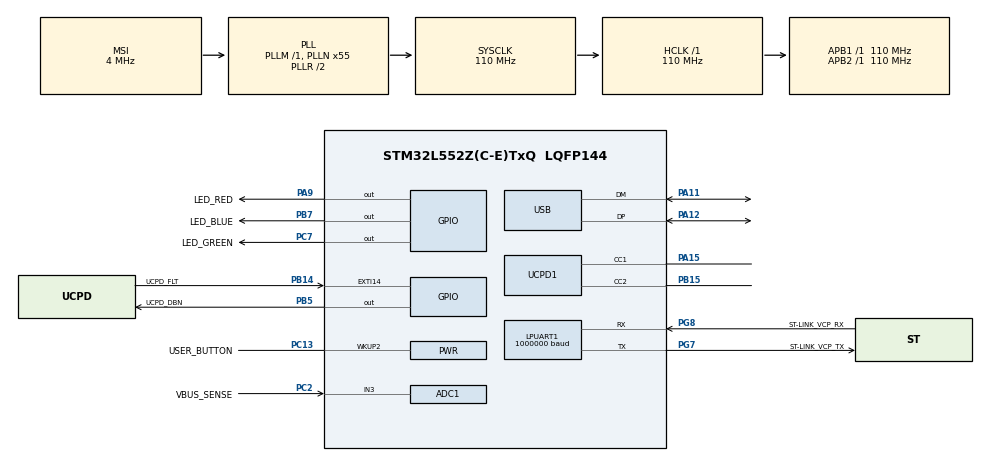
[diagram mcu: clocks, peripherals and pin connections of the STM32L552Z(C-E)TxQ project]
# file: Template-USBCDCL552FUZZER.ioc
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ADC1.Channel-0\#ChannelRegularConversion=ADC_CHANNEL_3
ADC1.NbrOfConversionFlag=1
ADC1.OffsetNumber-0\#ChannelRegularConversion=ADC_OFFSET_NONE
ADC1.Rank-0\#ChannelRegularConversion=1
ADC1.SamplingTime-0\#ChannelRegularConversion=ADC_SAMPLETIME_2CYCLES_5
ADC1.master=1
CRC.InputDataFormat=CRC_INPUTDATA_FORMAT_WORDS
CRC.InputDataInversionMode=CRC_INPUTDATA_INVERSION_WORD
CRC.OutputDataInversionMode=CRC_OUTPUTDATA_INVERSION_ENABLE
LPUART1.BaudRate=1000000
Mcu.Family=STM32L5
Mcu.Name=STM32L552Z(C-E)TxQ
Mcu.Package=LQFP144
Mcu.TrustZone=disable
NVIC.PriorityGroup=NVIC_PRIORITYGROUP_3
NVIC.TIM17_IRQn=true\:7\:0\:false\:false\:true\:false\:true\:true
NVIC.TimeBase=TIM17_IRQn
NVIC.TimeBaseIP=TIM17
NVIC.USB_FS_IRQn=true\:5\:0\:true\:false\:true\:false\:true\:true
PA11.Mode=Device
PA11.Signal=USB_DM
PA12.Mode=Device
PA12.Signal=USB_DP
PA13\ (JTMS/SWDIO).Mode=Trace_Asynchronous_SW
PA13\ (JTMS/SWDIO).Signal=DEBUG_JTMS-SWDIO
PA14\ (JTCK/SWCLK).Mode=Trace_Asynchronous_SW
PA14\ (JTCK/SWCLK).Signal=DEBUG_JTCK-SWCLK
PA15\ (JTDI).Mode=Source_AllSignals
PA15\ (JTDI).Signal=UCPD1_CC1
PA9.GPIO_Label=LED_RED
PA9.Signal=GPIO_Output
PB14.GPIO_Label=UCPD_FLT
PB14.Signal=GPXTI14
PB15.Mode=Source_AllSignals
PB15.Signal=UCPD1_CC2
PB3\ (JTDO/TRACESWO).Mode=Trace_Asynchronous_SW
PB3\ (JTDO/TRACESWO).Signal=DEBUG_JTDO-SWO
PB5.GPIO_Label=UCPD_DBN
PB5.Signal=GPIO_Output
PB7.GPIO_Label=LED_BLUE
PB7.Signal=GPIO_Output
PC13.GPIO_Label=USER_BUTTON
PC13.Mode=WakeUp1
PC13.Signal=PWR_WKUP2
PC14-OSC32_IN\ (PC14).Mode=LSE-External-Oscillator
PC14-OSC32_IN\ (PC14).Signal=RCC_OSC32_IN
PC15-OSC32_OUT\ (PC15).Mode=LSE-External-Oscillator
PC15-OSC32_OUT\ (PC15).Signal=RCC_OSC32_OUT
PC2.GPIO_Label=VBUS_SENSE
PC2.Signal=ADCx_IN3
PC7.GPIO_Label=LED_GREEN
PC7.Signal=GPIO_Output
PG7.GPIO_Label=ST-LINK_VCP_TX
PG7.Mode=Asynchronous
PG7.Signal=LPUART1_TX
PG8.GPIO_Label=ST-LINK_VCP_RX
PG8.Mode=Asynchronous
PG8.Signal=LPUART1_RX
ProjectManager.HeapSize=0x200
ProjectManager.StackSize=0x400
ProjectManager.TargetToolchain=STM32CubeIDE
RCC.ADCCLockSelection=RCC_ADCCLKSOURCE_SYSCLK
RCC.ADCFreq_Value=110000000
RCC.AHBFreq_Value=110000000
RCC.APB1Freq_Value=110000000
RCC.APB1TimFreq_Value=110000000
RCC.APB2Freq_Value=110000000
RCC.APB2TimFreq_Value=110000000
RCC.CK48CLockSelection=RCC_USBCLKSOURCE_HSI48
RCC.CortexFreq_Value=110000000
RCC.HCLKFreq_Value=110000000
RCC.HSE_VALUE=8000000
RCC.HSI48_VALUE=48000000
RCC.HSI_VALUE=16000000
RCC.MSI_VALUE=4000000
RCC.PLLN=55
RCC.PLLSAI1N=24
RCC.RTCClockSelection=RCC_RTCCLKSOURCE_LSE
RCC.SYSCLKFreq_VALUE=110000000
RCC.SYSCLKSource=RCC_SYSCLKSOURCE_PLLCLK
RCC.USBFreq_Value=48000000
RCC.VCOOutputFreq_Value=220000000
SH.ADCx_IN3.0=ADC1_IN3,IN3-Single-Ended
USB_DEVICE.CLASS_NAME_FS=CDC
USB_DEVICE.VirtualMode=Cdc
USB_DEVICE.VirtualModeFS=Cdc_FS
VP_CRC_VS_CRC.Mode=CRC_Activate
VP_ICACHE_VS_ICACHE.Mode=DefaultMode
VP_PWR_VS_DBSignals.Mode=DisableDeadBatterySignals
VP_RTC_VS_RTC_Activate.Mode=RTC_Enabled
VP_SYS_VS_tim17.Mode=TIM17
VP_USB_DEVICE_VS_USB_DEVICE_CDC_FS.Mode=CDC_FS
board=NUCLEO-L552ZE-Q

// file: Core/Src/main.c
/* USER CODE BEGIN Header */
/**
  ******************************************************************************
  * @file           : main.c
  * @brief          : Main program body
  ******************************************************************************
  * @attention
  *
  * Copyright (c) 2023 STMicroelectronics.
  * All rights reserved.
  *
  * This software is licensed under terms that can be found in the LICENSE file
  * in the root directory of this software component.
  * If no LICENSE file comes with this software, it is provided AS-IS.
  *
  ******************************************************************************
  */
/* USER CODE END Header */
#include "main.h"
#include "usb_device.h"

/* USER CODE BEGIN Includes */
#include "fuzzing.h"
#include "app_main.h"
/* USER CODE END Includes */

ADC_HandleTypeDef hadc1;

CRC_HandleTypeDef hcrc;

UART_HandleTypeDef hlpuart1;

RTC_HandleTypeDef hrtc;

void SystemClock_Config(void);
static void MX_GPIO_Init(void);
static void MX_ADC1_Init(void);
static void MX_LPUART1_UART_Init(void);
static void MX_RTC_Init(void);
static void MX_UCPD1_Init(void);
static void MX_ICACHE_Init(void);
static void MX_CRC_Init(void);
/* USER CODE BEGIN PFP */
void __io_putchar(uint8_t ch) {
//HAL_UART_Transmit(&huart3, &ch, 1, 1);
	HAL_UART_Transmit(&hlpuart1, &ch, 1, 1);
}
/* USER CODE END PFP */

/* USER CODE BEGIN 0 */

static void prvROAccessTask( void * pvParameters )
{

	for(;;)
	{

		HAL_GPIO_TogglePin(LED_RED_GPIO_Port,LED_RED_Pin);
		vTaskDelay(300);

	}

}

#define SHARED_MEMORY_SIZE 32

static uint8_t ucSharedMemory[ SHARED_MEMORY_SIZE ] __attribute__( ( aligned( 32 ) ) );

void vStartMPUDemo2( void )
{
static StackType_t xROAccessTaskStack[ configMINIMAL_STACK_SIZE ] __attribute__( ( aligned( 32 ) ) );
TaskParameters_t xROAccessTaskParameters =
{
    .pvTaskCode     = prvROAccessTask,
    .pcName         = "ROAccess",
    .usStackDepth   = configMINIMAL_STACK_SIZE,
    .pvParameters   = NULL,
    .uxPriority     = tskIDLE_PRIORITY | portPRIVILEGE_BIT,
    .puxStackBuffer = xROAccessTaskStack,
    .xRegions       =   {
                            { ucSharedMemory, 32, tskMPU_REGION_READ_ONLY | tskMPU_REGION_EXECUTE_NEVER },
                            { 0,              0,  0                                                     },
                            { 0,              0,  0                                                     },
                        }
};
    /* Create an unprivileged task with RO access to ucSharedMemory. */
    xTaskCreateRestricted( &( xROAccessTaskParameters ), NULL );
}

/* USER CODE END 0 */

int main(void)
{

  /* MCU Configuration--------------------------------------------------------*/

  /* Reset of all peripherals, Initializes the Flash interface and the Systick. */
  HAL_Init();

  /* Configure the system clock */
  SystemClock_Config();

  /* Initialize all configured peripherals */
  MX_GPIO_Init();
  MX_ADC1_Init();
  MX_LPUART1_UART_Init();
  MX_RTC_Init();
  MX_UCPD1_Init();
  MX_USB_Device_Init();
  MX_ICACHE_Init();
  MX_CRC_Init();
  /* USER CODE BEGIN 2 */
  uint8_t pdata[] = "testing!\n";
  HAL_UART_Transmit(&hlpuart1, pdata, sizeof(pdata), 100);

  /*
  vStartMPUDemo2();
   vTaskStartScheduler();
*/

  activateCortexMtrapsUNA();
   // call RTOS initialization routines
  app_main();

  /* USER CODE END 2 */

  /* Infinite loop */
  while (1)
  {

  }
}

void SystemClock_Config(void)
{
  RCC_OscInitTypeDef RCC_OscInitStruct = {0};
  RCC_ClkInitTypeDef RCC_ClkInitStruct = {0};

  /** Configure the main internal regulator output voltage
  */
  if (HAL_PWREx_ControlVoltageScaling(PWR_REGULATOR_VOLTAGE_SCALE0) != HAL_OK)
  {
    Error_Handler();
  }

  /** Configure LSE Drive Capability
  */
  HAL_PWR_EnableBkUpAccess();
  __HAL_RCC_LSEDRIVE_CONFIG(RCC_LSEDRIVE_LOW);

  /** Initializes the RCC Oscillators according to the specified parameters
  * in the RCC_OscInitTypeDef structure.
  */
  RCC_OscInitStruct.OscillatorType = RCC_OSCILLATORTYPE_HSI48|RCC_OSCILLATORTYPE_LSE
                              |RCC_OSCILLATORTYPE_MSI;
  RCC_OscInitStruct.LSEState = RCC_LSE_ON;
  RCC_OscInitStruct.HSI48State = RCC_HSI48_ON;
  RCC_OscInitStruct.MSIState = RCC_MSI_ON;
  RCC_OscInitStruct.MSICalibrationValue = RCC_MSICALIBRATION_DEFAULT;
  RCC_OscInitStruct.MSIClockRange = RCC_MSIRANGE_6;
  RCC_OscInitStruct.PLL.PLLState = RCC_PLL_ON;
  RCC_OscInitStruct.PLL.PLLSource = RCC_PLLSOURCE_MSI;
  RCC_OscInitStruct.PLL.PLLM = 1;
  RCC_OscInitStruct.PLL.PLLN = 55;
  RCC_OscInitStruct.PLL.PLLP = RCC_PLLP_DIV7;
  RCC_OscInitStruct.PLL.PLLQ = RCC_PLLQ_DIV2;
  RCC_OscInitStruct.PLL.PLLR = RCC_PLLR_DIV2;
  if (HAL_RCC_OscConfig(&RCC_OscInitStruct) != HAL_OK)
  {
    Error_Handler();
  }

  /** Initializes the CPU, AHB and APB buses clocks
  */
  RCC_ClkInitStruct.ClockType = RCC_CLOCKTYPE_HCLK|RCC_CLOCKTYPE_SYSCLK
                              |RCC_CLOCKTYPE_PCLK1|RCC_CLOCKTYPE_PCLK2;
  RCC_ClkInitStruct.SYSCLKSource = RCC_SYSCLKSOURCE_PLLCLK;
  RCC_ClkInitStruct.AHBCLKDivider = RCC_SYSCLK_DIV1;
  RCC_ClkInitStruct.APB1CLKDivider = RCC_HCLK_DIV1;
  RCC_ClkInitStruct.APB2CLKDivider = RCC_HCLK_DIV1;

  if (HAL_RCC_ClockConfig(&RCC_ClkInitStruct, FLASH_LATENCY_5) != HAL_OK)
  {
    Error_Handler();
  }
}

static void MX_ADC1_Init(void)
{

  ADC_MultiModeTypeDef multimode = {0};
  ADC_ChannelConfTypeDef sConfig = {0};

  /** Common config
  */
  hadc1.Instance = ADC1;
  hadc1.Init.ClockPrescaler = ADC_CLOCK_ASYNC_DIV1;
  hadc1.Init.Resolution = ADC_RESOLUTION_12B;
  hadc1.Init.DataAlign = ADC_DATAALIGN_RIGHT;
  hadc1.Init.ScanConvMode = ADC_SCAN_DISABLE;
  hadc1.Init.EOCSelection = ADC_EOC_SINGLE_CONV;
  hadc1.Init.LowPowerAutoWait = DISABLE;
  hadc1.Init.ContinuousConvMode = DISABLE;
  hadc1.Init.NbrOfConversion = 1;
  hadc1.Init.DiscontinuousConvMode = DISABLE;
  hadc1.Init.ExternalTrigConv = ADC_SOFTWARE_START;
  hadc1.Init.ExternalTrigConvEdge = ADC_EXTERNALTRIGCONVEDGE_NONE;
  hadc1.Init.DMAContinuousRequests = DISABLE;
  hadc1.Init.Overrun = ADC_OVR_DATA_PRESERVED;
  hadc1.Init.OversamplingMode = DISABLE;
  if (HAL_ADC_Init(&hadc1) != HAL_OK)
  {
    Error_Handler();
  }

  /** Configure the ADC multi-mode
  */
  multimode.Mode = ADC_MODE_INDEPENDENT;
  if (HAL_ADCEx_MultiModeConfigChannel(&hadc1, &multimode) != HAL_OK)
  {
    Error_Handler();
  }

  /** Configure Regular Channel
  */
  sConfig.Channel = ADC_CHANNEL_3;
  sConfig.Rank = ADC_REGULAR_RANK_1;
  sConfig.SamplingTime = ADC_SAMPLETIME_2CYCLES_5;
  sConfig.SingleDiff = ADC_SINGLE_ENDED;
  sConfig.OffsetNumber = ADC_OFFSET_NONE;
  sConfig.Offset = 0;
  if (HAL_ADC_ConfigChannel(&hadc1, &sConfig) != HAL_OK)
  {
    Error_Handler();
  }

}

static void MX_CRC_Init(void)
{

  hcrc.Instance = CRC;
  hcrc.Init.DefaultPolynomialUse = DEFAULT_POLYNOMIAL_ENABLE;
  hcrc.Init.DefaultInitValueUse = DEFAULT_INIT_VALUE_ENABLE;
  hcrc.Init.InputDataInversionMode = CRC_INPUTDATA_INVERSION_WORD;
  hcrc.Init.OutputDataInversionMode = CRC_OUTPUTDATA_INVERSION_ENABLE;
  hcrc.InputDataFormat = CRC_INPUTDATA_FORMAT_WORDS;
  if (HAL_CRC_Init(&hcrc) != HAL_OK)
  {
    Error_Handler();
  }

}

static void MX_ICACHE_Init(void)
{

  /** Enable instruction cache (default 2-ways set associative cache)
  */
  if (HAL_ICACHE_Enable() != HAL_OK)
  {
    Error_Handler();
  }

}

static void MX_LPUART1_UART_Init(void)
{

  hlpuart1.Instance = LPUART1;
  hlpuart1.Init.BaudRate = 1000000;
  hlpuart1.Init.WordLength = UART_WORDLENGTH_8B;
  hlpuart1.Init.StopBits = UART_STOPBITS_1;
  hlpuart1.Init.Parity = UART_PARITY_NONE;
  hlpuart1.Init.Mode = UART_MODE_TX_RX;
  hlpuart1.Init.HwFlowCtl = UART_HWCONTROL_NONE;
  hlpuart1.Init.OneBitSampling = UART_ONE_BIT_SAMPLE_DISABLE;
  hlpuart1.Init.ClockPrescaler = UART_PRESCALER_DIV1;
  hlpuart1.AdvancedInit.AdvFeatureInit = UART_ADVFEATURE_NO_INIT;
  hlpuart1.FifoMode = UART_FIFOMODE_DISABLE;
  if (HAL_UART_Init(&hlpuart1) != HAL_OK)
  {
    Error_Handler();
  }
  if (HAL_UARTEx_SetTxFifoThreshold(&hlpuart1, UART_TXFIFO_THRESHOLD_1_8) != HAL_OK)
  {
    Error_Handler();
  }
  if (HAL_UARTEx_SetRxFifoThreshold(&hlpuart1, UART_RXFIFO_THRESHOLD_1_8) != HAL_OK)
  {
    Error_Handler();
  }
  if (HAL_UARTEx_DisableFifoMode(&hlpuart1) != HAL_OK)
  {
    Error_Handler();
  }

}

static void MX_RTC_Init(void)
{

  RTC_PrivilegeStateTypeDef privilegeState = {0};

  /** Initialize RTC Only
  */
  hrtc.Instance = RTC;
  hrtc.Init.HourFormat = RTC_HOURFORMAT_24;
  hrtc.Init.AsynchPrediv = 127;
  hrtc.Init.SynchPrediv = 255;
  hrtc.Init.OutPut = RTC_OUTPUT_DISABLE;
  hrtc.Init.OutPutRemap = RTC_OUTPUT_REMAP_NONE;
  hrtc.Init.OutPutPolarity = RTC_OUTPUT_POLARITY_HIGH;
  hrtc.Init.OutPutType = RTC_OUTPUT_TYPE_OPENDRAIN;
  hrtc.Init.OutPutPullUp = RTC_OUTPUT_PULLUP_NONE;
  if (HAL_RTC_Init(&hrtc) != HAL_OK)
  {
    Error_Handler();
  }
  privilegeState.rtcPrivilegeFull = RTC_PRIVILEGE_FULL_NO;
  privilegeState.backupRegisterPrivZone = RTC_PRIVILEGE_BKUP_ZONE_NONE;
  privilegeState.backupRegisterStartZone2 = RTC_BKP_DR0;
  privilegeState.backupRegisterStartZone3 = RTC_BKP_DR0;
  if (HAL_RTCEx_PrivilegeModeSet(&hrtc, &privilegeState) != HAL_OK)
  {
    Error_Handler();
  }

}

static void MX_UCPD1_Init(void)
{

  LL_GPIO_InitTypeDef GPIO_InitStruct = {0};

  /* Peripheral clock enable */
  LL_APB1_GRP2_EnableClock(LL_APB1_GRP2_PERIPH_UCPD1);

  LL_AHB2_GRP1_EnableClock(LL_AHB2_GRP1_PERIPH_GPIOB);
  LL_AHB2_GRP1_EnableClock(LL_AHB2_GRP1_PERIPH_GPIOA);
  /**UCPD1 GPIO Configuration
  PB15   ------> UCPD1_CC2
  PA15 (JTDI)   ------> UCPD1_CC1
  */
  GPIO_InitStruct.Pin = LL_GPIO_PIN_15;
  GPIO_InitStruct.Mode = LL_GPIO_MODE_ANALOG;
  GPIO_InitStruct.Pull = LL_GPIO_PULL_NO;
  LL_GPIO_Init(GPIOB, &GPIO_InitStruct);

  GPIO_InitStruct.Pin = LL_GPIO_PIN_15;
  GPIO_InitStruct.Mode = LL_GPIO_MODE_ANALOG;
  GPIO_InitStruct.Pull = LL_GPIO_PULL_NO;
  LL_GPIO_Init(GPIOA, &GPIO_InitStruct);

}

static void MX_GPIO_Init(void)
{
  GPIO_InitTypeDef GPIO_InitStruct = {0};

  /* GPIO Ports Clock Enable */
  __HAL_RCC_GPIOC_CLK_ENABLE();
  __HAL_RCC_GPIOB_CLK_ENABLE();
  __HAL_RCC_GPIOG_CLK_ENABLE();
  HAL_PWREx_EnableVddIO2();
  __HAL_RCC_GPIOA_CLK_ENABLE();

  /*Configure GPIO pin Output Level */
  HAL_GPIO_WritePin(LED_GREEN_GPIO_Port, LED_GREEN_Pin, GPIO_PIN_RESET);

  /*Configure GPIO pin Output Level */
  HAL_GPIO_WritePin(LED_RED_GPIO_Port, LED_RED_Pin, GPIO_PIN_RESET);

  /*Configure GPIO pin Output Level */
  HAL_GPIO_WritePin(GPIOB, UCPD_DBN_Pin|LED_BLUE_Pin, GPIO_PIN_RESET);

  /*Configure GPIO pin : UCPD_FLT_Pin */
  GPIO_InitStruct.Pin = UCPD_FLT_Pin;
  GPIO_InitStruct.Mode = GPIO_MODE_IT_RISING;
  GPIO_InitStruct.Pull = GPIO_NOPULL;
  HAL_GPIO_Init(UCPD_FLT_GPIO_Port, &GPIO_InitStruct);

  /*Configure GPIO pin : LED_GREEN_Pin */
  GPIO_InitStruct.Pin = LED_GREEN_Pin;
  GPIO_InitStruct.Mode = GPIO_MODE_OUTPUT_PP;
  GPIO_InitStruct.Pull = GPIO_NOPULL;
  GPIO_InitStruct.Speed = GPIO_SPEED_FREQ_LOW;
  HAL_GPIO_Init(LED_GREEN_GPIO_Port, &GPIO_InitStruct);

  /*Configure GPIO pin : LED_RED_Pin */
  GPIO_InitStruct.Pin = LED_RED_Pin;
  GPIO_InitStruct.Mode = GPIO_MODE_OUTPUT_PP;
  GPIO_InitStruct.Pull = GPIO_NOPULL;
  GPIO_InitStruct.Speed = GPIO_SPEED_FREQ_LOW;
  HAL_GPIO_Init(LED_RED_GPIO_Port, &GPIO_InitStruct);

  /*Configure GPIO pins : UCPD_DBN_Pin LED_BLUE_Pin */
  GPIO_InitStruct.Pin = UCPD_DBN_Pin|LED_BLUE_Pin;
  GPIO_InitStruct.Mode = GPIO_MODE_OUTPUT_PP;
  GPIO_InitStruct.Pull = GPIO_NOPULL;
  GPIO_InitStruct.Speed = GPIO_SPEED_FREQ_LOW;
  HAL_GPIO_Init(GPIOB, &GPIO_InitStruct);

}

void HAL_TIM_PeriodElapsedCallback(TIM_HandleTypeDef *htim)
{
  if (htim->Instance == TIM17) {
    HAL_IncTick();
  }
}

void Error_Handler(void)
{
  __disable_irq();
  while (1)
  {
  }
}
